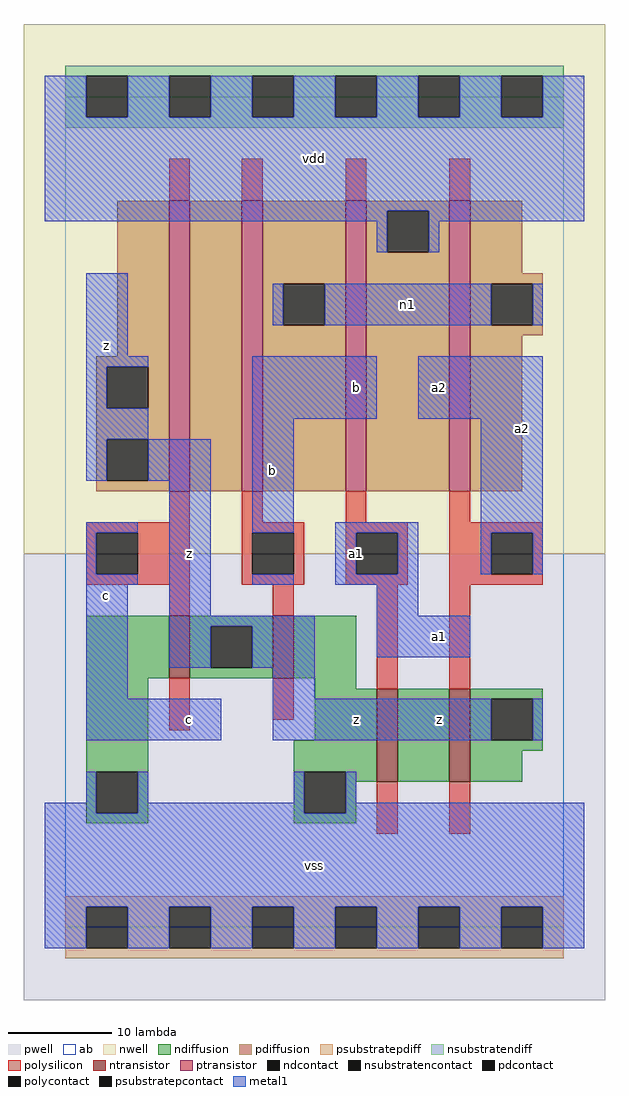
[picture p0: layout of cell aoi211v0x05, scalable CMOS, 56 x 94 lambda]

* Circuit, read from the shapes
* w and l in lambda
.subckt aoi211v0x05 a1 a2 b c n1 vdd vss z
M1 z c vss vss nfet w=6 l=2
M2 vss b z vss nfet w=6 l=2
M3 n2 a1 vss vss nfet w=9 l=2
M4 z a2 n2 vss nfet w=9 l=2
M5 n3 c z vdd pfet w=28 l=2
M6 n1 b n3 vdd pfet w=28 l=2
M7 vdd a1 n1 vdd pfet w=28 l=2
M8 n1 a2 vdd vdd pfet w=28 l=2
.ends

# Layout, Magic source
magic
tech scmos
<< ab >>
rect 0 0 48 80
<< pwell >>
rect -4 -7 52 36
<< nwell >>
rect -4 36 52 87
<< polysilicon >>
rect 10 70 12 74
rect 17 70 19 74
rect 27 70 29 74
rect 37 70 39 74
rect 10 39 12 42
rect 2 38 12 39
rect 2 34 3 38
rect 7 34 12 38
rect 2 33 12 34
rect 17 39 19 42
rect 27 39 29 42
rect 37 39 39 42
rect 17 38 23 39
rect 17 34 18 38
rect 22 34 23 38
rect 17 33 23 34
rect 27 38 33 39
rect 27 34 28 38
rect 32 34 33 38
rect 27 33 33 34
rect 37 38 46 39
rect 37 34 41 38
rect 45 34 46 38
rect 37 33 46 34
rect 10 30 12 33
rect 20 30 22 33
rect 10 19 12 24
rect 20 20 22 24
rect 30 23 32 33
rect 37 23 39 33
rect 30 9 32 14
rect 37 9 39 14
<< ndiffusion >>
rect 2 24 10 30
rect 12 29 20 30
rect 12 25 14 29
rect 18 25 20 29
rect 12 24 20 25
rect 22 24 28 30
rect 2 15 8 24
rect 24 23 28 24
rect 24 18 30 23
rect 2 11 3 15
rect 7 11 8 15
rect 2 10 8 11
rect 22 15 30 18
rect 22 11 23 15
rect 27 14 30 15
rect 32 14 37 23
rect 39 22 46 23
rect 39 18 41 22
rect 45 18 46 22
rect 39 17 46 18
rect 39 14 44 17
rect 27 11 28 14
rect 22 10 28 11
<< pdiffusion >>
rect 5 55 10 70
rect 3 54 10 55
rect 3 50 4 54
rect 8 50 10 54
rect 3 47 10 50
rect 3 43 4 47
rect 8 43 10 47
rect 3 42 10 43
rect 12 42 17 70
rect 19 62 27 70
rect 19 58 21 62
rect 25 58 27 62
rect 19 42 27 58
rect 29 69 37 70
rect 29 65 31 69
rect 35 65 37 69
rect 29 42 37 65
rect 39 63 44 70
rect 39 62 46 63
rect 39 58 41 62
rect 45 58 46 62
rect 39 57 46 58
rect 39 42 44 57
<< metal1 >>
rect -2 78 2 82
rect 6 78 10 82
rect 14 78 18 82
rect 22 78 26 82
rect 30 78 34 82
rect 38 78 42 82
rect 46 78 50 82
rect -2 69 50 78
rect -2 68 31 69
rect 30 65 31 68
rect 35 68 50 69
rect 35 65 36 68
rect 2 55 6 63
rect 20 58 21 62
rect 25 58 41 62
rect 45 58 46 62
rect 2 54 8 55
rect 2 50 4 54
rect 2 47 8 50
rect 18 49 30 55
rect 34 49 46 55
rect 2 43 4 47
rect 8 43 14 47
rect 2 38 7 39
rect 2 34 3 38
rect 2 33 7 34
rect 2 22 6 33
rect 10 30 14 43
rect 18 38 22 49
rect 18 33 22 34
rect 26 38 34 39
rect 26 34 28 38
rect 32 34 34 38
rect 40 38 46 49
rect 40 34 41 38
rect 45 34 46 38
rect 26 33 34 34
rect 30 30 34 33
rect 10 29 24 30
rect 10 25 14 29
rect 18 25 24 29
rect 30 26 39 30
rect 20 22 24 25
rect 2 18 15 22
rect 20 18 41 22
rect 45 18 46 22
rect 2 12 3 15
rect -2 11 3 12
rect 7 12 8 15
rect 22 12 23 15
rect 7 11 23 12
rect 27 12 28 15
rect 27 11 50 12
rect -2 2 50 11
rect -2 -2 2 2
rect 6 -2 10 2
rect 14 -2 18 2
rect 22 -2 26 2
rect 30 -2 34 2
rect 38 -2 42 2
rect 46 -2 50 2
<< ntransistor >>
rect 10 24 12 30
rect 20 24 22 30
rect 30 14 32 23
rect 37 14 39 23
<< ptransistor >>
rect 10 42 12 70
rect 17 42 19 70
rect 27 42 29 70
rect 37 42 39 70
<< polycontact >>
rect 3 34 7 38
rect 18 34 22 38
rect 28 34 32 38
rect 41 34 45 38
<< ndcontact >>
rect 14 25 18 29
rect 3 11 7 15
rect 23 11 27 15
rect 41 18 45 22
<< pdcontact >>
rect 4 50 8 54
rect 4 43 8 47
rect 21 58 25 62
rect 31 65 35 69
rect 41 58 45 62
<< psubstratepcontact >>
rect 2 -2 6 2
rect 10 -2 14 2
rect 18 -2 22 2
rect 26 -2 30 2
rect 34 -2 38 2
rect 42 -2 46 2
<< nsubstratencontact >>
rect 2 78 6 82
rect 10 78 14 82
rect 18 78 22 82
rect 26 78 30 82
rect 34 78 38 82
rect 42 78 46 82
<< psubstratepdiff >>
rect 0 2 48 3
rect 0 -2 2 2
rect 6 -2 10 2
rect 14 -2 18 2
rect 22 -2 26 2
rect 30 -2 34 2
rect 38 -2 42 2
rect 46 -2 48 2
rect 0 -3 48 -2
<< nsubstratendiff >>
rect 0 82 48 83
rect 0 78 2 82
rect 6 78 10 82
rect 14 78 18 82
rect 22 78 26 82
rect 30 78 34 82
rect 38 78 42 82
rect 46 78 48 82
rect 0 77 48 78
<< labels >>
rlabel metal1 4 32 4 32 6 c
rlabel metal1 4 56 4 56 6 z
rlabel metal1 12 20 12 20 6 c
rlabel metal1 12 36 12 36 6 z
rlabel metal1 24 6 24 6 6 vss
rlabel metal1 20 44 20 44 6 b
rlabel metal1 24 74 24 74 6 vdd
rlabel metal1 28 20 28 20 6 z
rlabel metal1 36 28 36 28 6 a1
rlabel metal1 36 20 36 20 6 z
rlabel metal1 28 36 28 36 6 a1
rlabel metal1 36 52 36 52 6 a2
rlabel metal1 28 52 28 52 6 b
rlabel metal1 44 48 44 48 6 a2
rlabel metal1 33 60 33 60 6 n1
<< end >>
